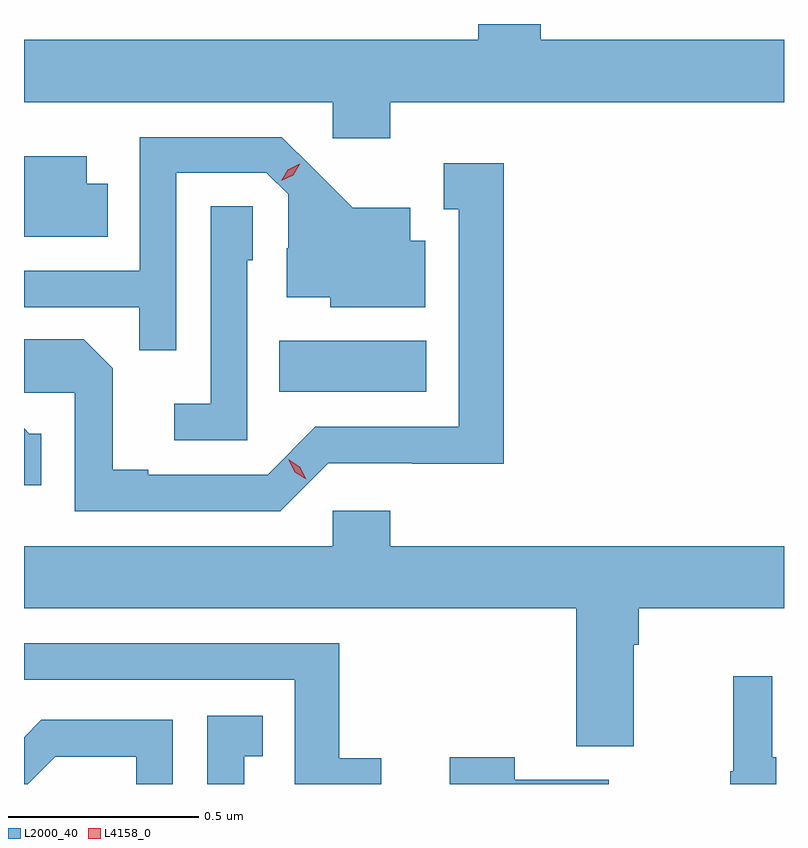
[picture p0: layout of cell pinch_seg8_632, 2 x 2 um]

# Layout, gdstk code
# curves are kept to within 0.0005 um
import gdstk
lib = gdstk.Library(unit=1e-6, precision=1e-09)
def R(c, l, rs):  # rectangles x0, y0, x1, y1
    for r in rs: c.add(gdstk.rectangle(r[:2], r[2:], *l))
def P(c, l, *ps):  # polygons
    for p in ps: c.add(gdstk.Polygon(p, *l))
L2000_40 = (2000, 40)
L4158_0 = (4158, 0)

pinch_seg8_632 = lib.new_cell('pinch_seg8_632')
R(pinch_seg8_632, L2000_40, [(155.128,1099.754,155.515,1099.888)])
P(pinch_seg8_632, L2000_40, [(155.42,1100.516),(156.456,1100.516),(156.456,1100.68),(155.816,1100.68),(155.816,1100.722),(155.651,1100.722),(155.651,1100.68),(154.456,1100.68),(154.456,1100.516),(155.268,1100.516),(155.268,1100.421),(155.42,1100.421)],
  [(154.857,1100.331),(155.094,1100.331),(155.151,1100.274),(155.151,1100.132),(155.147,1100.132),(155.147,1100.003),(155.262,1100.003),(155.262,1099.976),(155.512,1099.976),(155.512,1100.152),(155.473,1100.152),(155.473,1100.239),(155.321,1100.239),(155.134,1100.424),(154.761,1100.424),(154.761,1100.073),(154.456,1100.073),(154.456,1099.977),(154.759,1099.977),(154.759,1099.864),(154.857,1099.864)],
  [(154.676,1100.302),(154.621,1100.302),(154.621,1100.374),(154.456,1100.374),(154.456,1100.162),(154.676,1100.162)],
  [(155.256,1099.566),(155.478,1099.566),(155.478,1099.565),(155.719,1099.565),(155.719,1100.356),(155.561,1100.356),(155.561,1100.235),(155.6,1100.235),(155.6,1099.662),(155.223,1099.662),(155.097,1099.536),(154.783,1099.536),(154.783,1099.549),(154.689,1099.549),(154.689,1099.816),(154.613,1099.892),(154.456,1099.892),(154.456,1099.752),(154.59,1099.752),(154.59,1099.44),(155.13,1099.44)],
  [(155.043,1100.1),(155.058,1100.1),(155.058,1100.243),(154.947,1100.243),(154.947,1099.723),(154.851,1099.723),(154.851,1099.626),(155.043,1099.626)],
  [(154.501,1099.644),(154.47,1099.644),(154.456,1099.658),(154.456,1099.508),(154.501,1099.508)],
  [(155.268,1099.441),(155.268,1099.348),(154.456,1099.348),(154.456,1099.184),(155.909,1099.184),(155.909,1098.822),(156.061,1098.822),(156.061,1099.088),(156.074,1099.088),(156.074,1099.184),(156.456,1099.184),(156.456,1099.348),(155.42,1099.348),(155.42,1099.441)],
  [(155.396,1098.79),(155.285,1098.79),(155.285,1099.092),(154.456,1099.092),(154.456,1098.996),(155.169,1098.996),(155.169,1098.722),(155.396,1098.722)],
  [(156.436,1098.793),(156.425,1098.793),(156.425,1099.006),(156.322,1099.006),(156.322,1098.756),(156.315,1098.756),(156.315,1098.722),(156.436,1098.722)],
  [(155.035,1098.795),(155.084,1098.795),(155.084,1098.901),(154.938,1098.901),(154.938,1098.722),(155.035,1098.722)],
  [(154.538,1098.794),(154.752,1098.794),(154.752,1098.722),(154.848,1098.722),(154.848,1098.891),(154.502,1098.891),(154.456,1098.845),(154.456,1098.722),(154.466,1098.722)],
  [(155.995,1098.733),(155.747,1098.733),(155.747,1098.793),(155.576,1098.793),(155.576,1098.722),(155.995,1098.722)])
P(pinch_seg8_632, L4158_0, [(155.199,1099.524),(155.168,1099.543),(155.151,1099.576),(155.151,1099.576),(155.151,1099.576),(155.182,1099.557),(155.199,1099.524),(155.199,1099.524)],
  [(155.133,1100.309),(155.133,1100.309),(155.15,1100.338),(155.181,1100.354),(155.181,1100.354),(155.181,1100.353),(155.164,1100.324),(155.133,1100.309)])

lib.write_gds('pinch_seg8_632.gds')
